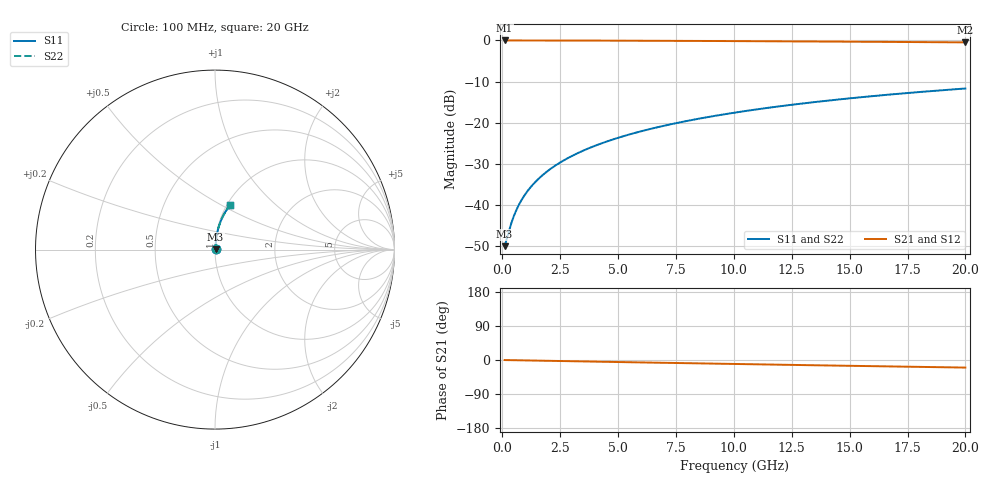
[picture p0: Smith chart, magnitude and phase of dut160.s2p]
! Touchstone file exported from HFSS 2024.1.0
!  File:  C:/UserFiles/LocalFiles/RDL_TSV_Batchsim/temp_RDL_bottom_160_1778697777.aedt
!  Generated:  02:45:50 AM May 14, 2026
!  Design:  RDL_bottom
!  Project:  temp_RDL_bottom_160_1778697777
!  Setup:  Setup1
!  Solution:  Sweep
! Variables:
!  dtsv = 10.80580581um
!  hbump = 3um
!  htsv = 89.49um
!  ldown = 211.21um
!  lrdl = 100um
!  p = 40
!  p1 = 46.41um
!  rhole = 1um
!  t = 450um
!  tdown = 2.27um
!  trdl = 3.915915916um
!  wdown = 12.68um
!  wrdl = 20um
# GHz S MA R 50.000000
! Terminal data exported
! Port[1] = RDL1_T1
! Port[2] = RDL1_T2
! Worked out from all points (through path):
!   200 points, 100 MHz to 20 GHz, reference 50 ohm
!   highest |S21| = -0.02 dB at 100 MHz (marker M1); lowest = -0.5 dB at 20 GHz (marker M2)
!   group delay of S21, straight-line fit = 2.78 ps
!   lowest |S11| = -50.0 dB at 100 MHz (marker M3), VSWR 1.01, Z = 50.3 + j0.136 ohm
!   |S11| at or under -10 dB: start of sweep to end of sweep
!   |S22| runs from -50.0 to -11.7 dB; largest |S21 - S12| = 3.2e-15
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0.1  0.003165 25.4  0.9971 -0.1  0.9971 -0.1  0.003165 25.4
! Gamma 0 0 0 0
! Port Impedance 50 0 50 0
0.3  0.004994 54.2  0.9971 -0.3  0.9971 -0.3  0.004994 54.2
0.4  0.006149 61.1  0.997 -0.4  0.997 -0.4  0.006149 61.1
0.5  0.007359 65.8  0.997 -0.6  0.997 -0.6  0.007359 65.8
0.6  0.008596 69.0  0.9969 -0.7  0.9969 -0.7  0.008596 69.0
0.7  0.009847 71.4  0.9968 -0.8  0.9968 -0.8  0.009847 71.4
0.9  0.01237 74.7  0.9967 -1.0  0.9967 -1.0  0.01237 74.7
1.2  0.01617 77.7  0.9965 -1.3  0.9965 -1.3  0.01617 77.7
1.4  0.01872 79.0  0.9963 -1.5  0.9963 -1.5  0.01872 79.0
1.7  0.02256 80.4  0.9961 -1.9  0.9961 -1.9  0.02256 80.4
2.2  0.02898 81.9  0.9956 -2.4  0.9956 -2.4  0.02898 81.9
2.8  0.03674 82.8  0.995 -3.0  0.995 -3.0  0.03674 82.8
3.5  0.04585 83.3  0.9941 -3.8  0.9941 -3.8  0.04585 83.3
4.2  0.055 83.5  0.9931 -4.5  0.9931 -4.5  0.055 83.5
5  0.06552 83.4  0.9917 -5.4  0.9917 -5.4  0.06552 83.4
5.9  0.07742 83.1  0.9899 -6.3  0.9899 -6.3  0.07742 83.1
6.8  0.08936 82.7  0.9879 -7.2  0.9879 -7.2  0.08936 82.7
8.3  0.1093 81.8  0.9843 -8.8  0.9843 -8.8  0.1093 81.8
10.1  0.1333 80.4  0.9794 -10.6  0.9794 -10.6  0.1333 80.4
13.4  0.1769 77.6  0.9692 -13.8  0.9692 -13.8  0.1768 77.6
16.7  0.2193 74.5  0.9577 -17.0  0.9577 -17.0  0.2193 74.5
20  0.2601 71.5  0.9451 -20.0  0.9451 -20.0  0.2601 71.5
